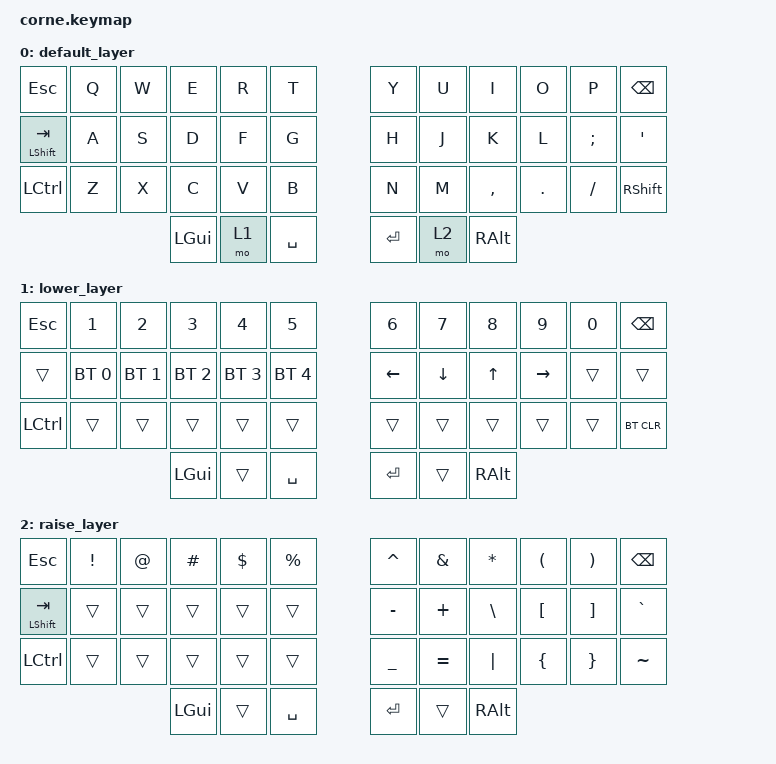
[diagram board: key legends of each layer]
/*
 * Copyright (c) 2020 The ZMK Contributors
 *
 * SPDX-License-Identifier: MIT
 */

#include <behaviors.dtsi>
#include <dt-bindings/zmk/keys.h>
#include <dt-bindings/zmk/bt.h>

/ {
        keymap {
                compatible = "zmk,keymap";

                default_layer {
// -----------------------------------------------------------------------------------------
// | ESC     |  Q  |  W  |  E  |  R  |  T  |   |  Y  |  U   |  I  |  O  |  P  | BSPC |
// | TABSHFT |  A  |  S  |  D  |  F  |  G  |   |  H  |  J   |  K  |  L  |  ;  |  '   |
// | CTRL    |  Z  |  X  |  C  |  V  |  B  |   |  N  |  M   |  ,  |  .  |  /  | SHFT |
//                    | GUI | LWR | SPC |   | ENT | RSE  | ALT |
                        bindings = <
   &kp ESC       &kp Q &kp W &kp E &kp R &kp T   &kp Y &kp U  &kp I     &kp O   &kp P    &kp BSPC
   &mt LSHFT TAB &kp A &kp S &kp D &kp F &kp G   &kp H &kp J  &kp K     &kp L   &kp SEMI &kp SQT
   &kp LCTRL     &kp Z &kp X &kp C &kp V &kp B   &kp N &kp M  &kp COMMA &kp DOT &kp FSLH &kp RSHFT
                  &kp LGUI &mo 1 &kp SPACE   &kp RET &mo 2 &kp RALT
                        >;
                };
                lower_layer {
// -----------------------------------------------------------------------------------------
// | ESC  |  1  |  2  |  3  |  4  |  5  |   |  6  |  7  |  8  |  9  |  0  | BSPC  |
// |      | BT1 | BT2 | BT3 | BT4 | BT5 |   | LFT | DWN |  UP | RGT |     |       |
// | CTRL |     |     |     |     |     |   |     |     |     |     |     | BTCLR |
//                    | GUI |     | SPC |   | ENT |     | ALT |
                        bindings = <
   &kp ESC   &kp N1       &kp N2       &kp N3       &kp N4       &kp N5         &kp N6   &kp N7   &kp N8 &kp N9    &kp N0 &kp BSPC
   &trans    &bt BT_SEL 0 &bt BT_SEL 1 &bt BT_SEL 2 &bt BT_SEL 3 &bt BT_SEL 4   &kp LEFT &kp DOWN &kp UP &kp RIGHT &trans &trans
   &kp LCTRL &trans       &trans       &trans       &trans       &trans         &trans   &trans   &trans &trans    &trans &bt BT_CLR
                                    &kp LGUI     &trans       &kp SPACE      &kp RET  &trans   &kp RALT
                        >;
                };

                raise_layer {
// -----------------------------------------------------------------------------------------
// | ESC     |  !  |  @  |  #  |  $  |  %  |   |  ^  |  &  |  *  |  (  |  )  | BSPC |
// | TABSHFT |     |     |     |     |     |   |  -  |  +  |  \  |  [  |  ]  |  `   |
// | CTRL    |     |     |     |     |     |   |  _  |  =  | "|" |  {  |  }  |  ~   |
//                    | GUI |     | SPC |   | ENT |     | ALT |
                        bindings = <
   &kp ESC       &kp EXCL &kp AT &kp HASH &kp DLLR &kp PRCNT   &kp CARET &kp AMPS  &kp ASTRK &kp LPAR &kp RPAR &kp BSPC
   &mt LSHFT TAB &trans   &trans &trans   &trans   &trans      &kp MINUS &kp PLUS  &kp BSLH  &kp LBKT &kp RBKT &kp GRAVE
   &kp LCTRL     &trans   &trans &trans   &trans   &trans      &kp UNDER &kp EQUAL &kp PIPE  &kp LBRC &kp RBRC &kp TILDE
                             &kp LGUI &trans   &kp SPACE   &kp RET   &trans    &kp RALT
                        >;
                };
        };
};
